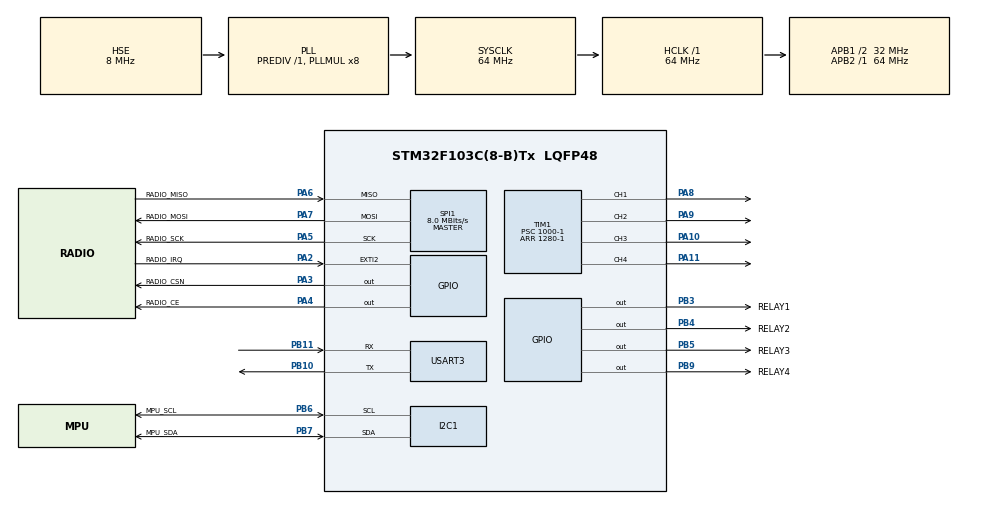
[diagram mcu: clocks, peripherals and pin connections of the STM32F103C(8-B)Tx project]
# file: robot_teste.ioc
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I2C1.I2C_Mode=I2C_Fast
Mcu.Family=STM32F1
Mcu.Name=STM32F103C(8-B)Tx
Mcu.Package=LQFP48
NVIC.PriorityGroup=NVIC_PRIORITYGROUP_4
PA10.Signal=S_TIM1_CH3
PA11.Signal=S_TIM1_CH4
PA2.GPIO_Label=RADIO_IRQ
PA2.GPIO_ModeDefaultEXTI=GPIO_MODE_IT_FALLING
PA2.Signal=GPXTI2
PA3.GPIO_Label=RADIO_CSN
PA3.Signal=GPIO_Output
PA4.GPIO_Label=RADIO_CE
PA4.Signal=GPIO_Output
PA5.GPIO_Label=RADIO_SCK
PA5.Mode=Full_Duplex_Master
PA5.Signal=SPI1_SCK
PA6.GPIO_Label=RADIO_MISO
PA6.Mode=Full_Duplex_Master
PA6.Signal=SPI1_MISO
PA7.GPIO_Label=RADIO_MOSI
PA7.Mode=Full_Duplex_Master
PA7.Signal=SPI1_MOSI
PA8.Signal=S_TIM1_CH1
PA9.Signal=S_TIM1_CH2
PB10.Mode=Asynchronous
PB10.Signal=USART3_TX
PB11.Mode=Asynchronous
PB11.Signal=USART3_RX
PB3.GPIO_Label=RELAY1
PB3.Signal=GPIO_Output
PB4.GPIO_Label=RELAY2
PB4.Signal=GPIO_Output
PB5.GPIO_Label=RELAY3
PB5.Signal=GPIO_Output
PB6.GPIO_Label=MPU_SCL
PB6.Mode=I2C
PB6.Signal=I2C1_SCL
PB7.GPIO_Label=MPU_SDA
PB7.Mode=I2C
PB7.Signal=I2C1_SDA
PB9.GPIO_Label=RELAY4
PB9.Signal=GPIO_Output
PD0-OSC_IN.Mode=HSE-External-Oscillator
PD0-OSC_IN.Signal=RCC_OSC_IN
PD1-OSC_OUT.Mode=HSE-External-Oscillator
PD1-OSC_OUT.Signal=RCC_OSC_OUT
ProjectManager.HeapSize=0x200
ProjectManager.StackSize=0x400
ProjectManager.TargetToolchain=STM32CubeIDE
RCC.AHBFreq_Value=64000000
RCC.APB1CLKDivider=RCC_HCLK_DIV2
RCC.APB1Freq_Value=32000000
RCC.APB1TimFreq_Value=64000000
RCC.APB2Freq_Value=64000000
RCC.APB2TimFreq_Value=64000000
RCC.HCLKFreq_Value=64000000
RCC.PLLMUL=RCC_PLL_MUL8
RCC.PLLSourceVirtual=RCC_PLLSOURCE_HSE
RCC.SYSCLKFreq_VALUE=64000000
RCC.SYSCLKSource=RCC_SYSCLKSOURCE_PLLCLK
RCC.USBFreq_Value=64000000
SH.S_TIM1_CH1.0=TIM1_CH1,PWM Generation1 CH1
SH.S_TIM1_CH2.0=TIM1_CH2,PWM Generation2 CH2
SH.S_TIM1_CH3.0=TIM1_CH3,PWM Generation3 CH3
SH.S_TIM1_CH4.0=TIM1_CH4,PWM Generation4 CH4
SPI1.BaudRatePrescaler=SPI_BAUDRATEPRESCALER_8
SPI1.CalculateBaudRate=8.0 MBits/s
SPI1.Direction=SPI_DIRECTION_2LINES
SPI1.Mode=SPI_MODE_MASTER
SPI1.VirtualType=VM_MASTER
TIM1.Channel-PWM\ Generation1\ CH1=TIM_CHANNEL_1
TIM1.Channel-PWM\ Generation2\ CH2=TIM_CHANNEL_2
TIM1.Channel-PWM\ Generation3\ CH3=TIM_CHANNEL_3
TIM1.Channel-PWM\ Generation4\ CH4=TIM_CHANNEL_4
TIM1.Period=1280-1
TIM1.Prescaler=1000-1
USART3.VirtualMode=VM_ASYNC
VP_SYS_VS_ND.Mode=No_Debug
VP_TIM1_VS_ClockSourceINT.Mode=Internal
board=custom

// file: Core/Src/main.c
/* USER CODE BEGIN Header */
/**
 ******************************************************************************
 * @file           : main.c
 * @brief          : Main program body
 ******************************************************************************
 * @attention
 *
 * Copyright (c) 2024 STMicroelectronics.
 * All rights reserved.
 *
 * This software is licensed under terms that can be found in the LICENSE file
 * in the root directory of this software component.
 * If no LICENSE file comes with this software, it is provided AS-IS.
 *
 ******************************************************************************
 */
/* USER CODE END Header */
#include "main.h"
#include "i2c.h"
#include "spi.h"
#include "tim.h"
#include "usart.h"
#include "gpio.h"

/* USER CODE BEGIN Includes */

#include "rf24.h"
#include "rf24_debug.h"
#include "radio_interface.h"
#include "inverse_kinematics.h"
#include "motor_activation.h"
#include "mpu6050.h"
#include <stdio.h>

/* USER CODE END Includes */

/* USER CODE BEGIN PD */

#define SERIAL_UART huart3

/* USER CODE END PD */

/* USER CODE BEGIN PV */

command_t *p_cmd;
PID_TypeDef *p_PID;
rf24_dev_t *p_dev;
MPU6050_t *p_MPU6050;

/* USER CODE END PV */

void SystemClock_Config(void);
/* USER CODE BEGIN PFP */

int __io_putchar(int ch);

float calculate_IMU_error(MPU6050_t MPU6050);

/* USER CODE END PFP */

int main(void) {

	/* MCU Configuration--------------------------------------------------------*/

	/* Reset of all peripherals, Initializes the Flash interface and the Systick. */
	HAL_Init();

	/* Configure the system clock */
	SystemClock_Config();

	/* Initialize all configured peripherals */
	MX_GPIO_Init();
	MX_SPI1_Init();
	MX_USART3_UART_Init();
	MX_TIM1_Init();
	MX_I2C1_Init();
	/* USER CODE BEGIN 2 */

	printf("liguei\r\n");

	rf24_dev_t device; /* Module instance */
	p_dev = &device; /* Pointer to module instance */

	/* Device config */

	/* Get default configuration */
	rf24_get_default_config(p_dev);

	/* The SPI2 was chosen in Cube */
	p_dev->platform_setup.hspi = &hspi1;

	/* CSN on pin PC6 */
	p_dev->platform_setup.csn_port = RADIO_CSN_GPIO_Port;
	p_dev->platform_setup.csn_pin = RADIO_CSN_Pin;

	/* IRQ on pin PC7 */
	p_dev->platform_setup.irq_port = RADIO_IRQ_GPIO_Port;
	p_dev->platform_setup.irq_pin = RADIO_IRQ_Pin;

	/* CE on pin PC8 */
	p_dev->platform_setup.ce_port = RADIO_CE_GPIO_Port;
	p_dev->platform_setup.ce_pin = RADIO_CE_Pin;

	p_dev->payload_size = 26;

	rf24_init(p_dev);

	uint8_t addresses[2][5] = { { 0xB9, 0xB7, 0xE7, 0xE9, 0xC2 }, { 0xB9, 0xB7,
			0xE7, 0xE9, 0xC3 } };

	rf24_open_writing_pipe(p_dev, addresses[1]);
	rf24_open_reading_pipe(p_dev, 1, addresses[0]);

	rf24_start_listening(p_dev);

	motor_init(htim1, TIM1);

	//MPU6050_t MPU6050;
	//p_MPU6050 = &MPU6050;

	//MPU6050_Init(&hi2c1);

	//float GyroErrorZ = calculate_IMU_error(MPU6050);

	command_t cmd;
	cmd.vx = 0;
	cmd.vy = 0;
	cmd.vtheta = 0;
	p_cmd = &cmd;

	PID_TypeDef TPIDVTheta;
	p_PID = &TPIDVTheta;
	//float PIDOut;

	//PID(&TPIDVTheta, &(MPU6050.Gz), &PIDOut, &(cmd.vtheta), 0, 0, 0,
	//		_PID_P_ON_E, _PID_CD_DIRECT);

	//PID_SetMode(&TPIDVTheta, _PID_MODE_AUTOMATIC);
	//PID_SetSampleTime(&TPIDVTheta, 2);
	//PID_SetOutputLimits(&TPIDVTheta, -3, 3);

	inverse_kinematics_init();
	float *inverse_kinematics_result;

	rf24_status_t read_status;

	/* USER CODE END 2 */

	/* Infinite loop */
	/* USER CODE BEGIN WHILE */
	uint8_t buffer[26] = { 0 };

	uint16_t count = 5000;
	while (1) {
		/* USER CODE END WHILE */

		/* USER CODE BEGIN 3 */
		read_status = RF24_UNKNOWN_ERROR;

		if ((rf24_available(p_dev, NULL)) == RF24_SUCCESS) {
			while ((rf24_available(p_dev, NULL)) == RF24_SUCCESS) {
				read_status = rf24_read(p_dev, buffer, p_dev->payload_size);
			}
		}

		if (read_status == RF24_SUCCESS)
			get_command_from_buffer(buffer, p_cmd, &TPIDVTheta);

		//MPU6050_Read_Gyro(&hi2c1, &MPU6050);
		//MPU6050.Gz -= GyroErrorZ;

		//PID_Compute(&TPIDVTheta);

		//printf("pid: %f\t", PIDOut);

		printf("vx: %f\t", p_cmd->vx);

		inverse_kinematics_result = calculate_wheel_speed(p_cmd, 0.0); //PIDOut
		if (count > 0) {
			inverse_kinematics_result[0] = 96;
			inverse_kinematics_result[1] = -96;
			inverse_kinematics_result[2] = -78;
			inverse_kinematics_result[3] = 78;
			count--;
		} else {
			inverse_kinematics_result[0] = 96;
			inverse_kinematics_result[1] = -96;
			inverse_kinematics_result[2] = -78;
			inverse_kinematics_result[3] = 78;
		}

		printf("[%f, %f, %f]\t", TPIDVTheta.Kp, TPIDVTheta.Ki, TPIDVTheta.Kd);

		printf("[%f, %f, %f, %f]\r\n", inverse_kinematics_result[0],
				inverse_kinematics_result[1], inverse_kinematics_result[2],
				inverse_kinematics_result[3]);

		write_speed_to_motors(TIM1, inverse_kinematics_result);

		/* USER CODE END 3 */
	}
}

void SystemClock_Config(void) {
	RCC_OscInitTypeDef RCC_OscInitStruct = { 0 };
	RCC_ClkInitTypeDef RCC_ClkInitStruct = { 0 };

	/** Initializes the RCC Oscillators according to the specified parameters
	 * in the RCC_OscInitTypeDef structure.
	 */
	RCC_OscInitStruct.OscillatorType = RCC_OSCILLATORTYPE_HSE;
	RCC_OscInitStruct.HSEState = RCC_HSE_ON;
	RCC_OscInitStruct.HSEPredivValue = RCC_HSE_PREDIV_DIV1;
	RCC_OscInitStruct.HSIState = RCC_HSI_ON;
	RCC_OscInitStruct.PLL.PLLState = RCC_PLL_ON;
	RCC_OscInitStruct.PLL.PLLSource = RCC_PLLSOURCE_HSE;
	RCC_OscInitStruct.PLL.PLLMUL = RCC_PLL_MUL8;
	if (HAL_RCC_OscConfig(&RCC_OscInitStruct) != HAL_OK) {
		Error_Handler();
	}

	/** Initializes the CPU, AHB and APB buses clocks
	 */
	RCC_ClkInitStruct.ClockType = RCC_CLOCKTYPE_HCLK | RCC_CLOCKTYPE_SYSCLK
			| RCC_CLOCKTYPE_PCLK1 | RCC_CLOCKTYPE_PCLK2;
	RCC_ClkInitStruct.SYSCLKSource = RCC_SYSCLKSOURCE_PLLCLK;
	RCC_ClkInitStruct.AHBCLKDivider = RCC_SYSCLK_DIV1;
	RCC_ClkInitStruct.APB1CLKDivider = RCC_HCLK_DIV2;
	RCC_ClkInitStruct.APB2CLKDivider = RCC_HCLK_DIV1;

	if (HAL_RCC_ClockConfig(&RCC_ClkInitStruct, FLASH_LATENCY_2) != HAL_OK) {
		Error_Handler();
	}
}

/* USER CODE BEGIN 4 */

int __io_putchar(int ch) {
	HAL_UART_Transmit(&SERIAL_UART, (uint8_t*) &ch, 1,
	HAL_MAX_DELAY);
	return ch;
}

float calculate_IMU_error(MPU6050_t MPU6050) {
	int error_iterations = 10000;

	float GyroErrorX = 0.0;

	for (int c = 0; c < error_iterations; c++) {
		MPU6050_Read_Gyro(&hi2c1, &MPU6050);

		// Sum all readings
		GyroErrorX = GyroErrorX + MPU6050.Gx;
	}
// Divide the sum by 200 to get the error value
	GyroErrorX = GyroErrorX / error_iterations;
	return GyroErrorX;
}

/* USER CODE END 4 */

void Error_Handler(void) {
	__disable_irq();
	while (1) {
	}
}
